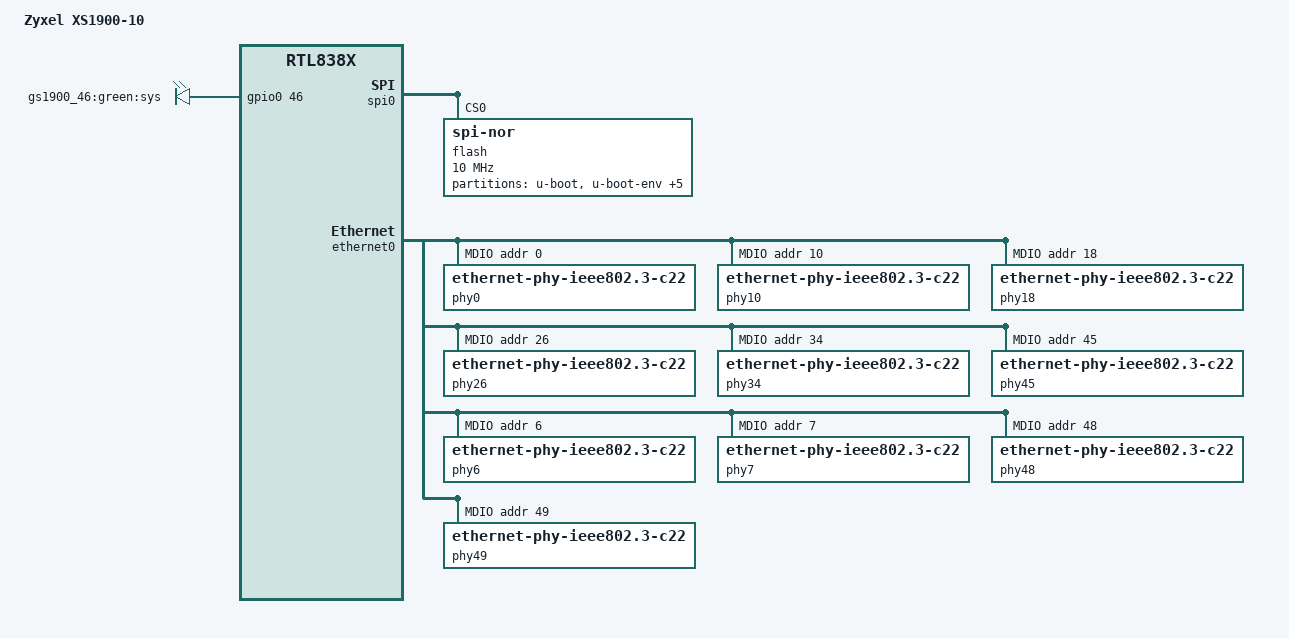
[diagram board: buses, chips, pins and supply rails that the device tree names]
/dts-v1/;

#include "rtl931x.dtsi"

#include <dt-bindings/input/input.h>
#include <dt-bindings/gpio/gpio.h>

/ {
	compatible = "zyxel,xs1900-10", "realtek,rtl838x-soc";
	model = "Zyxel XS1900-10";

	aliases {
		led-boot = &led_sys;
		led-failsafe = &led_sys;
		led-running = &led_sys;
		led-upgrade = &led_sys;
	};	

	chosen {
		bootargs = "console=ttyS0,115200";
	};

	leds {
		compatible = "gpio-leds";

		led_sys: sys {
			label = "gs1900_46:green:sys";
			gpios = <&gpio0 46 GPIO_ACTIVE_HIGH>;
		};
	};
};

&gpio0 {
	indirect-access-bus-id = <0>;
};

&spi0 {
	status = "okay";
	flash@0 {
		compatible = "jedec,spi-nor";
		reg = <0>;
		spi-max-frequency = <10000000>;

		partitions {
			compatible = "fixed-partitions";
			#address-cells = <1>;
			#size-cells = <1>;

			partition@0 {
				label = "u-boot";
				reg = <0x0 0x40000>;
				read-only;
			};
			partition@40000 {
				label = "u-boot-env";
				reg = <0x40000 0x10000>;
				read-only;
			};
			partition@50000 {
				label = "u-boot-env2";
				reg = <0x50000 0x10000>;
				read-only;
			};
			partition@60000 {
				label = "jffs";
				reg = <0x60000 0x100000>;
			};
			partition@160000 {
				label = "jffs2";
				reg = <0x160000 0x100000>;
			};
			partition@b260000 {
				label = "runtime";
				reg = <0x260000 0x6d0000>;
				compatible = "denx,uimage";
			};
			partition@930000 {
				label = "runtime2";
				reg = <0x930000 0x6d0000>;
			};
		};
	};
};

&ethernet0 {
	mdio: mdio-bus {
		compatible = "realtek,rtl838x-mdio";
		regmap = <&ethernet0>;
		#address-cells = <1>;
		#size-cells = <0>;
		
		/* External phy ARQ813 */
		phy0: ethernet-phy@0 {
			reg = <0>;
			compatible = "ethernet-phy-ieee802.3-c22";
		};
		phy10: ethernet-phy@1 {
			reg = <10>;
			compatible = "ethernet-phy-ieee802.3-c22";
		};
		phy18: ethernet-phy@2 {
			reg = <18>;
			compatible = "ethernet-phy-ieee802.3-c22";
		};
		phy26: ethernet-phy@3 {
			reg = <26>;
			compatible = "ethernet-phy-ieee802.3-c22";
		};
		phy34: ethernet-phy@4 {
			reg = <34>;
			compatible = "ethernet-phy-ieee802.3-c22";
		};
		phy45: ethernet-phy@5 {
			reg = <45>;
			compatible = "ethernet-phy-ieee802.3-c22";
		};
		phy6: ethernet-phy@6 {
			reg = <6>;
			compatible = "ethernet-phy-ieee802.3-c22";
		};
		phy7: ethernet-phy@7 {
			reg = <7>;
			compatible = "ethernet-phy-ieee802.3-c22";
		};

		/* RTL9313 Internal Serdes */
		phy48: ethernet-phy@48 {
			compatible = "ethernet-phy-ieee802.3-c22";
			phy-is-integrated;
			reg = <48>;
		};
		phy49: ethernet-phy@49 {
			compatible = "ethernet-phy-ieee802.3-c22";
			phy-is-integrated;
			reg = <49>;
		};

	};
};

&switch0 {
	ports {
		#address-cells = <1>;
		#size-cells = <0>;

		port@0 {
			reg = <0>;
			label = "lan1";
			phy-handle = <&phy0>;
			phy-mode = "qsgmii";
		};
		port@10 {
			reg = <10>;
			label = "lan2";
			phy-handle = <&phy10>;
			phy-mode = "qsgmii";
		};
		port@18 {
			reg = <18>;
			label = "lan3";
			phy-handle = <&phy18>;
			phy-mode = "qsgmii";
		};
		port@26 {
			reg = <26>;
			label = "lan4";
			phy-handle = <&phy26>;
			phy-mode = "qsgmii";
		};
		port@34 {
			reg = <34>;
			label = "lan5";
			phy-handle = <&phy34>;
			phy-mode = "qsgmii";
		};
		port@45 {
			reg = <45>;
			label = "lan6";
			phy-handle = <&phy45>;
			phy-mode = "qsgmii";
		};
		port@6 {
			reg = <6>;
			label = "lan7";
			phy-handle = <&phy6>;
			phy-mode = "qsgmii";
		};
		port@7 {
			reg = <7>;
			label = "lan8";
			phy-handle = <&phy7>;
			phy-mode = "qsgmii";
		};

		/* RTL9313 Internal SerDes */
		port@48 {
			reg = <48>;
			label = "lan49";
			phy-mode = "internal";
			phy-handle = <&phy48>;
		};
		port@49 {
			reg = <49>;
			label = "lan50";
			phy-mode = "internal";
			phy-handle = <&phy49>;
		};

		/* CPU-Port */
		port@52 {
			ethernet = <&ethernet0>;
			reg = <52>;
			phy-mode = "qsgmii";
			fixed-link {
				speed = <1000>;
				full-duplex;
			};
		};
	};
};
